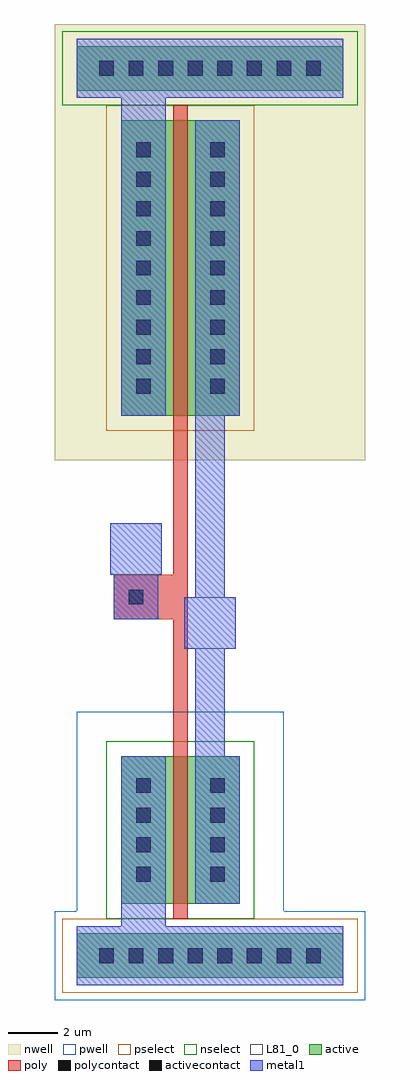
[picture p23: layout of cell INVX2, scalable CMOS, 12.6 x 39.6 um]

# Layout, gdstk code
import gdstk
lib = gdstk.Library(unit=1e-6, precision=1e-09)
def R(c, l, rs):  # rectangles x0, y0, x1, y1
    for r in rs: c.add(gdstk.rectangle(r[:2], r[2:], *l))
def A(c, l, x, y, w, h, nx, ny, dx, dy):  # array of equal rectangles
    R(c, l, [(x+i*dx, y+j*dy, x+i*dx+w, y+j*dy+h) for i in range(nx) for j in range(ny)])
pwell = (41, 0)
nwell = (42, 0)
active = (43, 0)
pselect = (44, 0)
nselect = (45, 0)
poly = (46, 0)
polycontact = (47, 0)
activecontact = (48, 0)
metal1 = (49, 0)
L81_0 = (81, 0)

invx2 = lib.new_cell('INVX2')
R(invx2, pwell, [(-1.8,-1.8,10.8,1.8), (-0.9,1.8,7.5,9.9)])
R(invx2, nwell, [(-1.8,20.1,10.8,37.8)])
R(invx2, active, [(-0.9,-0.9,9.9,0.9), (0.9,2.1,5.7,8.1), (0.9,21.9,5.7,33.9), (-0.9,35.1,9.9,36.9)])
R(invx2, pselect, [(-1.5,-1.5,10.5,1.5), (0.3,21.3,6.3,34.5)])
R(invx2, nselect, [(0.3,1.5,6.3,8.7), (-1.5,34.5,10.5,37.5)])
R(invx2, poly, [(3,1.5,3.6,13.65), (0.6,13.65,3.6,15.45), (3,15.45,3.6,34.5)])
R(invx2, polycontact, [(1.2,14.25,1.8,14.85)])
A(invx2, activecontact, 0, -0.3, 0.6, 0.6, 8, 2, 1.2, 36)
A(invx2, activecontact, 1.5, 3, 0.6, 0.6, 1, 4, 0, 1.2)
A(invx2, activecontact, 4.5, 3, 0.6, 0.6, 1, 4, 0, 1.2)
A(invx2, activecontact, 1.5, 22.8, 0.6, 0.6, 1, 9, 0, 1.2)
A(invx2, activecontact, 4.5, 22.8, 0.6, 0.6, 1, 9, 0, 1.2)
R(invx2, metal1, [(-0.9,-1.2,9.9,1.2), (0.9,1.2,2.7,8.1), (3.9,2.1,5.7,8.1), (3.9,8.1,5.1,12.45), (3.45,12.45,5.55,14.55), (0.6,13.65,2.4,15.45), (3.9,14.55,5.1,21.9), (0.45,15.45,2.55,17.55), (0.9,21.9,2.7,34.8), (3.9,21.9,5.7,33.9), (-0.9,34.8,9.9,37.2)])
R(invx2, L81_0, [(3.45,12.45,5.55,14.55), (0.45,15.45,2.55,17.55)])

lib.write_gds('INVX2.gds')
